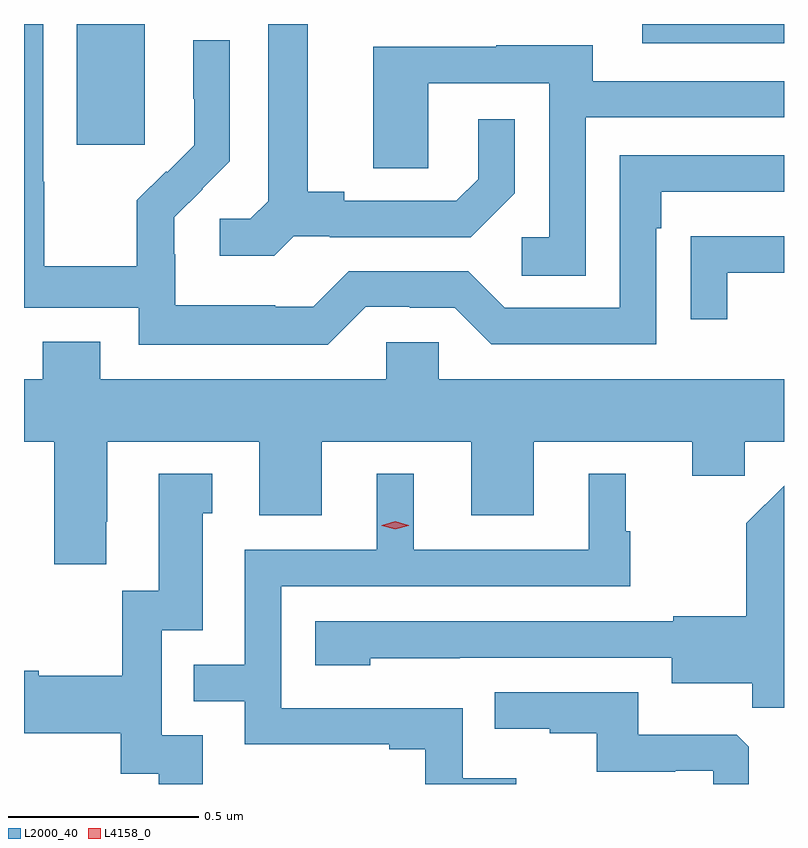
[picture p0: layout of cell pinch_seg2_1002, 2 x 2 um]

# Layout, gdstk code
import gdstk
lib = gdstk.Library(unit=1e-6, precision=1e-09)
def R(c, l, rs):  # rectangles x0, y0, x1, y1
    for r in rs: c.add(gdstk.rectangle(r[:2], r[2:], *l))
def P(c, l, *ps):  # polygons
    for p in ps: c.add(gdstk.Polygon(p, *l))
L2000_40 = (2000, 40)
L4158_0 = (4158, 0)

pinch_seg2_1002 = lib.new_cell('pinch_seg2_1002')
R(pinch_seg2_1002, L2000_40, [(134.243,648.417,134.422,648.735), (135.731,648.684,136.104,648.735)])
P(pinch_seg2_1002, L2000_40, [(134.814,648.177),(134.908,648.177),(134.908,648.174),(135.28,648.174),(135.396,648.29),(135.396,648.484),(135.299,648.484),(135.299,648.327),(135.242,648.27),(134.947,648.27),(134.947,648.293),(134.851,648.293),(134.851,648.735),(134.747,648.735),(134.747,648.269),(134.7,648.222),(134.619,648.222),(134.619,648.125),(134.762,648.125)],
  [(135.003,647.991),(135.119,647.991),(135.119,647.988),(135.237,647.988),(135.333,647.892),(135.768,647.892),(135.768,648.197),(135.781,648.197),(135.781,648.294),(136.104,648.294),(136.104,648.39),(135.672,648.39),(135.672,647.988),(135.369,647.988),(135.273,648.084),(134.958,648.084),(134.865,647.991),(134.765,647.991),(134.765,647.995),(134.502,647.995),(134.502,648.129),(134.5,648.129),(134.5,648.226),(134.574,648.3),(134.573,648.301),(134.646,648.374),(134.646,648.692),(134.55,648.692),(134.55,648.538),(134.552,648.538),(134.552,648.416),(134.481,648.345),(134.478,648.348),(134.401,648.271),(134.401,648.097),(134.157,648.097),(134.157,648.32),(134.154,648.32),(134.154,648.735),(134.104,648.735),(134.104,647.988),(134.406,647.988),(134.406,647.891),(134.903,647.891)],
  [(135.582,648.489),(136.104,648.489),(136.104,648.585),(135.601,648.585),(135.601,648.679),(135.347,648.679),(135.347,648.675),(135.023,648.675),(135.023,648.355),(135.168,648.355),(135.168,648.579),(135.486,648.579),(135.486,648.174),(135.414,648.174),(135.414,648.073),(135.582,648.073)],
  [(135.955,648.081),(136.104,648.081),(136.104,648.177),(135.961,648.177),(135.961,648.176),(135.859,648.176),(135.859,647.958),(135.955,647.958)],
  [(134.32,647.425),(134.323,647.425),(134.323,647.636),(134.723,647.636),(134.723,647.442),(134.887,647.442),(134.887,647.636),(135.281,647.636),(135.281,647.442),(135.445,647.442),(135.445,647.636),(135.863,647.636),(135.863,647.546),(136.001,647.546),(136.001,647.636),(136.104,647.636),(136.104,647.8),(135.195,647.8),(135.195,647.898),(135.057,647.898),(135.057,647.8),(134.305,647.8),(134.305,647.899),(134.153,647.899),(134.153,647.8),(134.104,647.8),(134.104,647.636),(134.183,647.636),(134.183,647.313),(134.32,647.313)],
  [(134.575,646.863),(134.466,646.863),(134.466,647.139),(134.575,647.139),(134.575,647.448),(134.599,647.448),(134.599,647.551),(134.459,647.551),(134.459,647.244),(134.363,647.244),(134.363,647.02),(134.143,647.02),(134.143,647.033),(134.104,647.033),(134.104,646.868),(134.358,646.868),(134.358,646.762),(134.459,646.762),(134.459,646.735),(134.575,646.735)],
  [(135.4,646.75),(135.258,646.75),(135.258,646.935),(134.781,646.935),(134.781,647.256),(135.7,647.256),(135.7,647.4),(135.688,647.4),(135.688,647.551),(135.59,647.551),(135.59,647.352),(135.13,647.352),(135.13,647.551),(135.032,647.551),(135.032,647.352),(134.685,647.352),(134.685,647.049),(134.551,647.049),(134.551,646.953),(134.685,646.953),(134.685,646.839),(135.065,646.839),(135.065,646.827),(135.16,646.827),(135.16,646.735),(135.4,646.735)],
  [(136.104,647.52),(136.005,647.421),(136.005,647.176),(135.813,647.176),(135.813,647.163),(134.871,647.163),(134.871,647.048),(135.015,647.048),(135.015,647.066),(135.251,647.066),(135.251,647.067),(135.809,647.067),(135.809,647),(136.02,647),(136.02,646.936),(136.104,646.936)],
  [(136.011,646.833),(135.979,646.865),(135.721,646.865),(135.721,646.977),(135.343,646.977),(135.343,646.88),(135.487,646.88),(135.487,646.869),(135.611,646.869),(135.611,646.767),(135.818,646.767),(135.818,646.77),(135.918,646.77),(135.918,646.735),(136.011,646.735)])
P(pinch_seg2_1002, L4158_0, [(135.081,647.406),(135.045,647.415),(135.045,647.416),(135.045,647.416),(135.081,647.426),(135.117,647.416),(135.117,647.416),(135.117,647.415)])

lib.write_gds('pinch_seg2_1002.gds')
